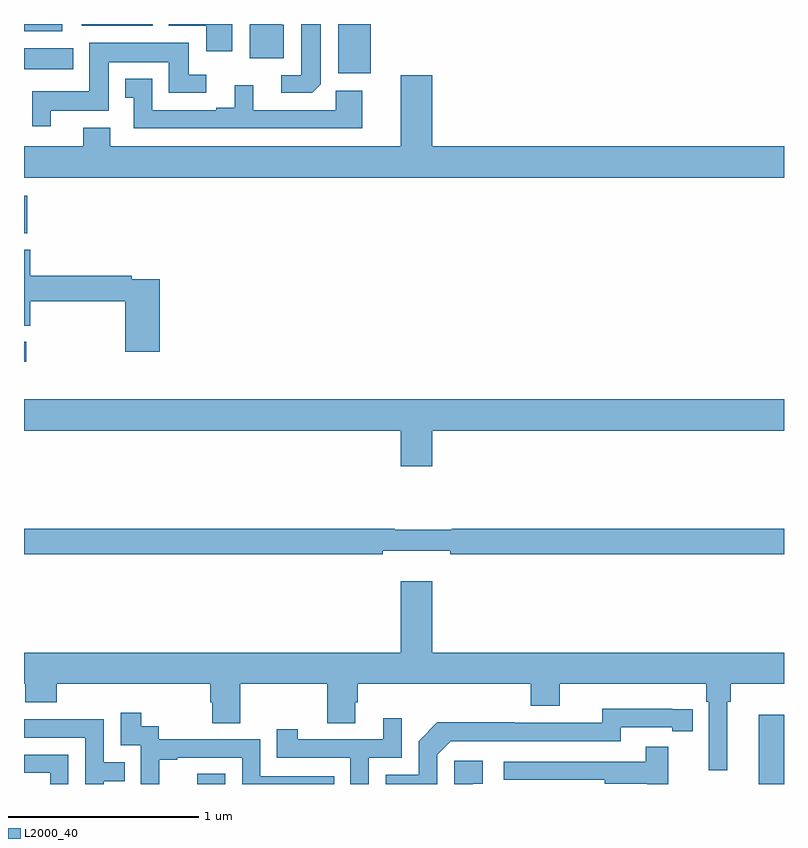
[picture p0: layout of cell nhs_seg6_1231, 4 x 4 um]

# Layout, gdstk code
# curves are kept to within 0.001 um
import gdstk
lib = gdstk.Library(unit=1e-6, precision=1e-09)
def R(c, l, rs):  # rectangles x0, y0, x1, y1
    for r in rs: c.add(gdstk.rectangle(r[:2], r[2:], *l))
def P(c, l, *ps):  # polygons
    for p in ps: c.add(gdstk.Polygon(p, *l))
L2000_40 = (2000, 40)

nhs_seg6_1231 = lib.new_cell('nhs_seg6_1231')
R(nhs_seg6_1231, L2000_40, [(187.911,921.5,188.058,921.553), (190.868,921.5,191,921.865), (187,923.723,187.012,923.827), (187,924.398,187.016,924.597), (188.654,925.241,188.825,925.5), (187,925.262,187.258,925.372), (187,925.463,187.201,925.5), (187.305,925.49,187.678,925.5)])
P(nhs_seg6_1231, L2000_40, [(188.562,925.183),(188.562,925.294),(188.563,925.294),(188.563,925.5),(188.459,925.5),(188.459,925.23),(188.355,925.23),(188.355,925.137),(188.516,925.137)],
  [(188.095,925.5),(187.763,925.5),(187.763,925.49),(187.958,925.49),(187.958,925.356),(188.095,925.356)],
  [(188.368,925.497),(188.353,925.497),(188.353,925.5),(188.189,925.5),(188.189,925.32),(188.368,925.32)],
  [(187.141,925.043),(187.447,925.043),(187.447,925.298),(187.763,925.298),(187.763,925.137),(187.96,925.137),(187.96,925.233),(187.867,925.233),(187.867,925.402),(187.343,925.402),(187.343,925.147),(187.043,925.147),(187.043,924.963),(187.141,924.963)],
  [(191,924.856),(189.148,924.856),(189.148,925.231),(188.984,925.231),(188.984,924.856),(187.453,924.856),(187.453,924.955),(187.313,924.955),(187.313,924.856),(187,924.856),(187,924.692),(191,924.692)],
  [(188.779,925.15),(188.64,925.15),(188.64,925.047),(188.206,925.047),(188.206,925.177),(188.108,925.177),(188.108,925.06),(188.012,925.06),(188.012,925.047),(187.674,925.047),(187.674,925.213),(187.532,925.213),(187.532,925.113),(187.578,925.113),(187.578,924.951),(188.779,924.951)],
  [(187.715,924.156),(187.568,924.156),(187.568,924.176),(187.034,924.176),(187.034,924.313),(187,924.313),(187,923.912),(187.034,923.912),(187.034,924.04),(187.532,924.04),(187.532,923.775),(187.715,923.775)],
  [(189.148,923.36),(191,923.36),(191,923.524),(187,923.524),(187,923.36),(188.984,923.36),(188.984,923.172),(189.148,923.172)],
  [(188.888,922.727),(189.244,922.727),(189.244,922.708),(191,922.708),(191,922.844),(189.25,922.844),(189.25,922.837),(188.95,922.837),(188.95,922.844),(187,922.844),(187,922.708),(188.888,922.708)],
  [(190.702,921.932),(190.721,921.932),(190.721,922.028),(191,922.028),(191,922.192),(189.148,922.192),(189.148,922.567),(188.984,922.567),(188.984,922.192),(187,922.192),(187,922.028),(187.007,922.028),(187.007,921.929),(187.172,921.929),(187.172,922.028),(187.979,922.028),(187.979,921.93),(187.991,921.93),(187.991,921.82),(188.139,921.82),(188.139,922.028),(188.596,922.028),(188.596,921.82),(188.743,921.82),(188.743,921.93),(188.756,921.93),(188.756,922.028),(189.668,922.028),(189.668,921.911),(189.82,921.911),(189.82,922.028),(190.592,922.028),(190.592,921.932),(190.605,921.932),(190.605,921.573),(190.702,921.573)],
  [(189.174,921.654),(189.246,921.726),(190.14,921.726),(190.14,921.798),(190.412,921.798),(190.412,921.778),(190.52,921.778),(190.52,921.894),(190.044,921.895),(190.044,921.822),(189.584,921.822),(189.584,921.824),(189.176,921.824),(189.078,921.726),(189.078,921.549),(188.904,921.549),(188.904,921.5),(189.174,921.5)],
  [(187.712,921.627),(187.807,921.627),(187.807,921.639),(188.148,921.639),(188.148,921.5),(188.633,921.5),(188.633,921.54),(188.244,921.54),(188.244,921.735),(187.71,921.735),(187.71,921.804),(187.618,921.804),(187.618,921.874),(187.509,921.874),(187.509,921.705),(187.614,921.705),(187.614,921.5),(187.712,921.5)],
  [(188.814,921.639),(188.988,921.639),(188.988,921.847),(188.891,921.847),(188.891,921.735),(188.44,921.735),(188.44,921.787),(188.329,921.787),(188.329,921.639),(188.718,921.639),(188.718,921.5),(188.814,921.5)],
  [(187.419,921.514),(187.529,921.514),(187.529,921.615),(187.419,921.615),(187.419,921.84),(187,921.84),(187,921.744),(187.323,921.744),(187.323,921.5),(187.419,921.5)],
  [(190.391,921.697),(190.273,921.697),(190.273,921.618),(189.525,921.618),(189.525,921.522),(190.057,921.522),(190.057,921.502),(190.281,921.502),(190.281,921.5),(190.391,921.5)],
  [(187.233,921.654),(187,921.654),(187,921.558),(187.137,921.558),(187.137,921.5),(187.233,921.5)],
  [(189.362,921.501),(189.415,921.501),(189.415,921.622),(189.264,921.622),(189.264,921.5),(189.362,921.5)])

lib.write_gds('nhs_seg6_1231.gds')
